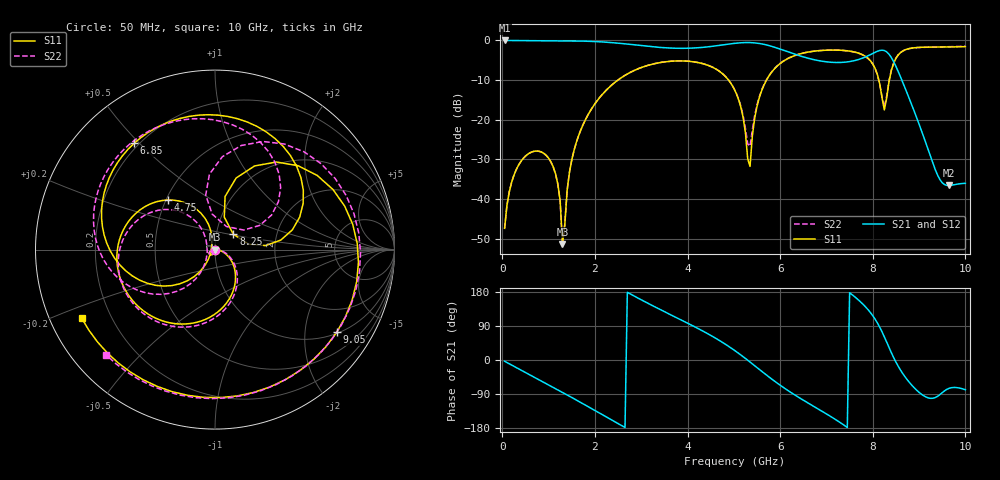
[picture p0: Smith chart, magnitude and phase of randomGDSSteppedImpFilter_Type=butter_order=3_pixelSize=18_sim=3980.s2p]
! freq	dB(S11)	phase(S11)	dB(S12)	phase(S12)
!  dB(S21)	phase(S21)	dB(S22)	phase(S22)
!S-par simulation data
#  GHz  S  DB  R 50
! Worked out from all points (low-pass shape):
!   200 points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, 50 MHz to 10 GHz, reference 50 ohm
!   highest |S21| = -0.01 dB at 50 MHz (marker M1); lowest = -36.6 dB at 9.65 GHz (marker M2)
!   |S21| within 3 dB of the highest: start of sweep to 6.202 GHz; 8.046 GHz to 8.311 GHz (264.5 MHz wide, 3.23 % of centre)
!   lowest |S11| = -51.3 dB at 1.3 GHz (marker M3), VSWR 1.01, Z = 49.7 - j0.0569 ohm
!   |S11| at or under -10 dB: start of sweep to 2.495 GHz; 4.885 GHz to 5.705 GHz (820.1 MHz wide, 15.5 % of centre); 8.13 GHz to 8.358 GHz (228.1 MHz wide, 2.77 % of centre)
!   |S22| runs from -51.8 to -1.5 dB; largest |S21 - S12| = 0
!   S11 on the Smith chart (normalised r, x): 50 MHz: 1.00, -0.01; 4.75 GHz: 0.51, +0.33; 6.85 GHz: 0.18, +0.48; 8.25 GHz: 1.21, +0.21; 9.05 GHz: 1.04, -2.91; 10 GHz: 0.10, -0.24
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0.05  -47.34 -85.7  -0.01 -3.3  -0.01 -3.3  -47.35 -85.6
0.3  -32.59 -108.8  -0.03 -19.7  -0.03 -19.7  -32.59 -108.4
0.8  -27.95 -143.1  -0.08 -52.4  -0.08 -52.4  -27.96 -142.2
1.15  -33.63 -166.1  -0.10 -75.4  -0.10 -75.4  -33.67 -165.3
1.3  -51.32 -167.8  -0.10 -85.4  -0.10 -85.4  -51.84 -175.3
1.45  -33.27 -8.7  -0.12 -95.5  -0.12 -95.5  -33.21 -5.1
1.75  -21.08 -28.5  -0.18 -116.0  -0.18 -116.0  -21.06 -25.4
2.55  -9.54 -84.2  -0.75 -171.3  -0.75 -171.3  -9.53 -79.8
3.4  -5.60 -139.5  -1.76 133.7  -1.76 133.7  -5.59 -133.4
4.75  -8.34 133.7  -1.14 46.9  -1.14 46.9  -8.32 145.1
5.05  -13.30 111.0  -0.69 22.3  -0.69 22.3  -13.20 126.2
5.35  -31.73 -150.6  -0.54 -5.4  -0.54 -5.4  -26.65 -158.6
5.7  -10.10 -140.1  -1.12 -39.3  -1.12 -39.3  -10.01 -132.6
6.7  -2.76 138.3  -4.77 -120.6  -4.77 -120.6  -2.75 153.3
6.85  -2.57 127.3  -5.13 -131.4  -5.13 -131.4  -2.56 143.1
7.8  -3.73 45.8  -4.37 145.8  -4.37 145.8  -3.76 67.1
8.25  -17.51 39.8  -2.55 61.2  -2.55 61.2  -16.86 63.6
8.35  -10.43 79.3  -3.46 33.3  -3.46 33.3  -10.22 99.7
8.6  -3.05 36.0  -9.21 -26.9  -9.21 -26.9  -3.05 56.7
9.05  -1.73 -34.2  -22.70 -90.2  -22.70 -90.2  -1.76 -16.0
9.65  -1.65 -112.9  -36.55 -74.6  -36.55 -74.6  -1.60 -97.5
10  -1.56 -152.7  -36.00 -78.4  -36.00 -78.4  -1.48 -136.0
